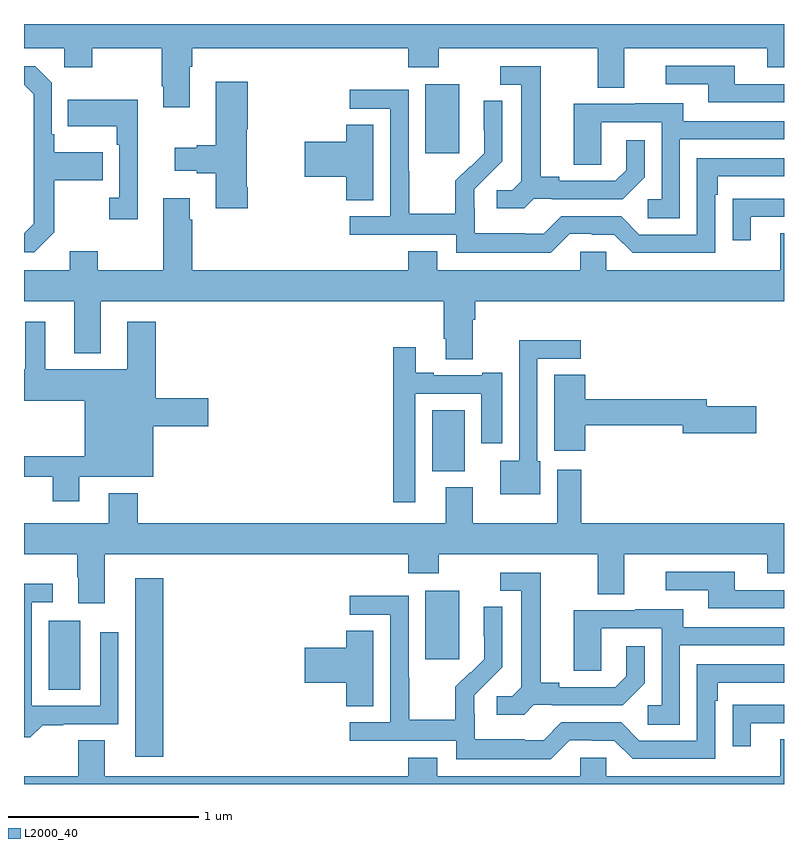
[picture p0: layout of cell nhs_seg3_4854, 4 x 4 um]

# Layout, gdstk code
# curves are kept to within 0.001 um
import gdstk
lib = gdstk.Library(unit=1e-6, precision=1e-09)
def R(c, l, rs):  # rectangles x0, y0, x1, y1
    for r in rs: c.add(gdstk.rectangle(r[:2], r[2:], *l))
def P(c, l, *ps):  # polygons
    for p in ps: c.add(gdstk.Polygon(p, *l))
L2000_40 = (2000, 40)

nhs_seg3_4854 = lib.new_cell('nhs_seg3_4854')
R(nhs_seg3_4854, L2000_40, [(373.586,674.544,373.733,675.484), (373.13,674.896,373.297,675.259), (375.113,675.057,375.292,675.418), (375.149,676.046,375.319,676.366), (375.113,677.721,375.292,678.082)])
P(nhs_seg3_4854, L2000_40, [(373.873,678.176),(373.886,678.176),(373.886,678.272),(375.023,678.272),(375.023,678.173),(375.183,678.173),(375.183,678.272),(376.019,678.272),(376.019,678.064),(376.159,678.064),(376.159,678.272),(376.913,678.272),(376.913,678.173),(377,678.173),(377,678.4),(373,678.4),(373,678.272),(373.212,678.272),(373.212,678.173),(373.359,678.173),(373.359,678.272),(373.726,678.272),(373.726,678.073),(373.733,678.073),(373.733,677.961),(373.873,677.961)],
  [(377,678.084),(376.741,678.084),(376.741,678.18),(376.377,678.18),(376.377,678.084),(376.601,678.084),(376.601,677.988),(377,677.988)],
  [(375.684,677.481),(375.778,677.481),(375.778,677.478),(376.15,677.478),(376.266,677.594),(376.266,677.788),(376.169,677.788),(376.169,677.631),(376.112,677.574),(375.817,677.574),(375.817,677.597),(375.721,677.597),(375.721,678.177),(375.507,678.177),(375.507,678.081),(375.617,678.081),(375.617,677.573),(375.57,677.526),(375.489,677.526),(375.489,677.429),(375.632,677.429)],
  [(373.159,677.305),(373.159,677.578),(373.415,677.578),(373.415,677.725),(373.159,677.725),(373.159,677.821),(373.146,677.821),(373.146,678.09),(373.059,678.177),(373,678.177),(373,678.08),(373.05,678.03),(373.05,677.349),(373,677.299),(373,677.199),(373.053,677.199)],
  [(374.177,677.542),(374.172,677.542),(374.172,677.845),(374.177,677.845),(374.177,678.097),(374.009,678.097),(374.009,677.762),(373.91,677.762),(373.91,677.749),(373.794,677.749),(373.794,677.627),(373.91,677.627),(373.91,677.615),(374.009,677.615),(374.009,677.43),(374.177,677.43)],
  [(375.873,677.295),(375.989,677.295),(375.989,677.292),(376.107,677.292),(376.203,677.196),(376.638,677.196),(376.638,677.501),(376.651,677.501),(376.651,677.598),(377,677.598),(377,677.694),(376.542,677.694),(376.542,677.292),(376.239,677.292),(376.143,677.388),(375.828,677.388),(375.735,677.295),(375.635,677.295),(375.635,677.299),(375.372,677.299),(375.372,677.433),(375.37,677.433),(375.37,677.53),(375.516,677.678),(375.516,677.996),(375.42,677.996),(375.42,677.842),(375.422,677.842),(375.422,677.72),(375.351,677.649),(375.348,677.652),(375.271,677.575),(375.271,677.401),(375.027,677.401),(375.027,677.624),(375.024,677.624),(375.024,678.054),(374.715,678.054),(374.715,677.955),(374.928,677.955),(374.928,677.388),(374.715,677.388),(374.715,677.292),(375.276,677.292),(375.276,677.195),(375.773,677.195)],
  [(373.598,678.001),(373.231,678.001),(373.231,677.861),(373.488,677.861),(373.488,677.765),(373.5,677.765),(373.5,677.486),(373.449,677.486),(373.449,677.373),(373.598,677.373)],
  [(376.452,677.793),(377,677.793),(377,677.889),(376.471,677.889),(376.471,677.983),(376.217,677.983),(376.217,677.979),(375.893,677.979),(375.893,677.659),(376.038,677.659),(376.038,677.883),(376.356,677.883),(376.356,677.478),(376.284,677.478),(376.284,677.377),(376.452,677.377)],
  [(374.839,677.87),(374.696,677.87),(374.696,677.78),(374.478,677.78),(374.478,677.597),(374.696,677.597),(374.696,677.473),(374.839,677.473)],
  [(375.361,676.844),(375.374,676.844),(375.374,676.94),(377,676.94),(377,677.299),(376.979,677.299),(376.979,677.104),(376.065,677.104),(376.065,677.202),(375.927,677.202),(375.927,677.104),(375.175,677.104),(375.175,677.203),(375.023,677.203),(375.023,677.104),(373.886,677.104),(373.886,677.369),(373.873,677.369),(373.873,677.482),(373.733,677.482),(373.733,677.104),(373.389,677.104),(373.389,677.203),(373.241,677.203),(373.241,677.104),(373,677.104),(373,676.94),(373.265,676.94),(373.265,676.667),(373.405,676.667),(373.405,676.94),(375.209,676.94),(375.209,676.744),(375.221,676.744),(375.221,676.636),(375.361,676.636)],
  [(376.825,677.385),(377,677.385),(377,677.481),(376.831,677.481),(376.831,677.48),(376.729,677.48),(376.729,677.262),(376.825,677.262)],
  [(373.291,676.016),(373.681,676.016),(373.681,676.283),(373.969,676.283),(373.969,676.43),(373.694,676.43),(373.694,676.834),(373.544,676.834),(373.544,676.582),(373.111,676.582),(373.111,676.834),(373.007,676.834),(373.007,676.582),(373,676.582),(373,676.418),(373.319,676.418),(373.319,676.126),(373,676.126),(373,676.017),(373.151,676.017),(373.151,675.888),(373.291,675.888)],
  [(375.718,676.098),(375.702,676.098),(375.702,676.638),(375.931,676.638),(375.931,676.736),(375.606,676.736),(375.606,676.102),(375.506,676.102),(375.506,675.926),(375.718,675.926)],
  [(375.06,676.455),(375.407,676.455),(375.407,676.194),(375.517,676.194),(375.517,676.564),(375.413,676.564),(375.413,676.551),(375.157,676.551),(375.157,676.564),(375.061,676.564),(375.061,676.699),(374.944,676.699),(374.944,675.882),(375.06,675.882)],
  [(375.953,676.288),(376.466,676.288),(376.466,676.246),(376.855,676.246),(376.855,676.388),(376.594,676.388),(376.594,676.424),(375.953,676.424),(375.953,676.553),(375.791,676.553),(375.791,676.155),(375.953,676.155)],
  [(373.598,675.931),(373.445,675.931),(373.445,675.772),(373,675.772),(373,675.608),(373.279,675.608),(373.279,675.488),(373.286,675.488),(373.286,675.351),(373.426,675.351),(373.426,675.608),(375.023,675.608),(375.023,675.509),(375.183,675.509),(375.183,675.608),(376.019,675.608),(376.019,675.4),(376.159,675.4),(376.159,675.608),(376.913,675.608),(376.913,675.509),(377,675.509),(377,675.772),(375.932,675.772),(375.932,676.054),(375.806,676.054),(375.806,675.772),(375.361,675.772),(375.361,675.961),(375.221,675.961),(375.221,675.772),(373.598,675.772)],
  [(377,675.42),(376.741,675.42),(376.741,675.516),(376.377,675.516),(376.377,675.42),(376.601,675.42),(376.601,675.324),(377,675.324)],
  [(375.684,674.817),(375.778,674.817),(375.778,674.814),(376.15,674.814),(376.266,674.93),(376.266,675.124),(376.169,675.124),(376.169,674.967),(376.112,674.91),(375.817,674.91),(375.817,674.933),(375.721,674.933),(375.721,675.513),(375.507,675.513),(375.507,675.417),(375.617,675.417),(375.617,674.909),(375.57,674.862),(375.489,674.862),(375.489,674.765),(375.632,674.765)],
  [(373.099,674.71),(373.207,674.71),(373.207,674.715),(373.497,674.715),(373.497,675.199),(373.401,675.199),(373.401,674.811),(373.041,674.811),(373.041,675.357),(373.15,675.357),(373.15,675.454),(373,675.454),(373,674.645),(373.034,674.645)],
  [(375.873,674.631),(375.989,674.631),(375.989,674.628),(376.107,674.628),(376.203,674.532),(376.638,674.532),(376.638,674.837),(376.651,674.837),(376.651,674.934),(377,674.934),(377,675.03),(376.542,675.03),(376.542,674.628),(376.239,674.628),(376.143,674.724),(375.828,674.724),(375.735,674.631),(375.635,674.631),(375.635,674.635),(375.372,674.635),(375.372,674.769),(375.37,674.769),(375.37,674.866),(375.516,675.014),(375.516,675.332),(375.42,675.332),(375.42,675.178),(375.422,675.178),(375.422,675.056),(375.351,674.985),(375.348,674.988),(375.271,674.911),(375.271,674.737),(375.027,674.737),(375.027,674.96),(375.024,674.96),(375.024,675.39),(374.715,675.39),(374.715,675.291),(374.928,675.291),(374.928,674.724),(374.715,674.724),(374.715,674.628),(375.276,674.628),(375.276,674.531),(375.773,674.531)],
  [(376.452,675.129),(377,675.129),(377,675.225),(376.471,675.225),(376.471,675.319),(376.217,675.319),(376.217,675.315),(375.893,675.315),(375.893,674.995),(376.038,674.995),(376.038,675.219),(376.356,675.219),(376.356,674.814),(376.284,674.814),(376.284,674.713),(376.452,674.713)],
  [(374.839,675.206),(374.696,675.206),(374.696,675.116),(374.478,675.116),(374.478,674.933),(374.696,674.933),(374.696,674.809),(374.839,674.809)],
  [(376.825,674.721),(377,674.721),(377,674.817),(376.831,674.817),(376.831,674.816),(376.729,674.816),(376.729,674.598),(376.825,674.598)],
  [(373.286,674.44),(373,674.44),(373,674.4),(377,674.4),(377,674.635),(376.979,674.635),(376.979,674.44),(376.065,674.44),(376.065,674.538),(375.927,674.538),(375.927,674.44),(375.175,674.44),(375.175,674.539),(375.023,674.539),(375.023,674.44),(373.426,674.44),(373.426,674.63),(373.286,674.63)])

lib.write_gds('nhs_seg3_4854.gds')
